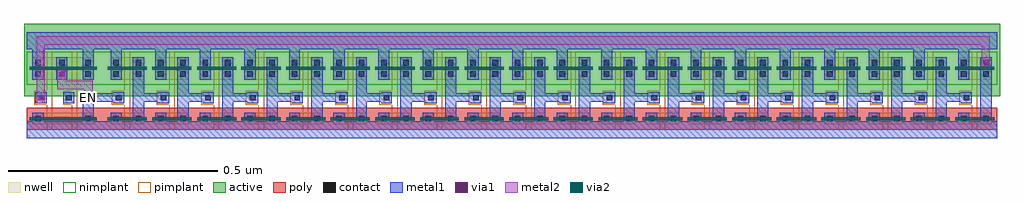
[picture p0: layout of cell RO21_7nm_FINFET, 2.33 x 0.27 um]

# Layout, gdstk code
import gdstk
lib = gdstk.Library(unit=1e-6, precision=1e-09)
def R(c, l, rs):  # rectangles x0, y0, x1, y1
    for r in rs: c.add(gdstk.rectangle(r[:2], r[2:], *l))
def A(c, l, x, y, w, h, nx, ny, dx, dy):  # array of equal rectangles
    R(c, l, [(x+i*dx, y+j*dy, x+i*dx+w, y+j*dy+h) for i in range(nx) for j in range(ny)])
active = (1, 0)
nwell = (2, 0)
poly = (3, 0)
nimplant = (4, 0)
pimplant = (5, 0)
contact = (6, 0)
metal1 = (7, 0)
via1 = (8, 0)
metal2 = (9, 0)
via2 = (10, 0)

ro21_7nm_finfet = lib.new_cell('RO21_7nm_FINFET')
A(ro21_7nm_finfet, active, 0.393, 0.1, 0.12, 0.173, 3, 1, 0.107, 0)
A(ro21_7nm_finfet, active, 0.713, 0.1, 0.12, 0.173, 3, 1, 0.107, 0)
A(ro21_7nm_finfet, active, 1.033, 0.1, 0.12, 0.173, 3, 1, 0.107, 0)
A(ro21_7nm_finfet, active, 1.353, 0.1, 0.12, 0.173, 3, 1, 0.107, 0)
A(ro21_7nm_finfet, active, 1.673, 0.1, 0.12, 0.173, 3, 1, 0.107, 0)
A(ro21_7nm_finfet, active, 1.993, 0.1, 0.12, 0.173, 3, 1, 0.107, 0)
R(ro21_7nm_finfet, active, [(-0.007,0.1,0.193,0.273), (0.18,0.1,0.3,0.273), (0.287,0.1,0.407,0.273)])
A(ro21_7nm_finfet, nwell, 0.413, 0.033, 0.08, 0.027, 3, 1, 0.107, 0)
A(ro21_7nm_finfet, nwell, 0.733, 0.033, 0.08, 0.027, 3, 1, 0.107, 0)
A(ro21_7nm_finfet, nwell, 1.053, 0.033, 0.08, 0.027, 3, 1, 0.107, 0)
A(ro21_7nm_finfet, nwell, 1.373, 0.033, 0.08, 0.027, 3, 1, 0.107, 0)
A(ro21_7nm_finfet, nwell, 1.693, 0.033, 0.08, 0.027, 3, 1, 0.107, 0)
A(ro21_7nm_finfet, nwell, 2.013, 0.033, 0.08, 0.027, 3, 1, 0.107, 0)
A(ro21_7nm_finfet, nwell, 0.413, 0.14, 0.08, 0.053, 3, 1, 0.107, 0)
A(ro21_7nm_finfet, nwell, 0.733, 0.14, 0.08, 0.053, 3, 1, 0.107, 0)
A(ro21_7nm_finfet, nwell, 1.053, 0.14, 0.08, 0.053, 3, 1, 0.107, 0)
A(ro21_7nm_finfet, nwell, 1.373, 0.14, 0.08, 0.053, 3, 1, 0.107, 0)
A(ro21_7nm_finfet, nwell, 1.693, 0.14, 0.08, 0.053, 3, 1, 0.107, 0)
A(ro21_7nm_finfet, nwell, 2.013, 0.14, 0.08, 0.053, 3, 1, 0.107, 0)
R(ro21_7nm_finfet, nwell, [(0.013,0.033,0.16,0.06), (0.2,0.033,0.28,0.06), (0.307,0.033,0.387,0.06), (0.013,0.14,0.16,0.193), (0.2,0.14,0.28,0.193), (0.307,0.14,0.387,0.193)])
A(ro21_7nm_finfet, poly, 0.187, 0.02, 0.106, 0.053, 7, 1, 0.32, 0)
R(ro21_7nm_finfet, poly, [(0,0.02,0.187,0.073), (0.293,0.02,0.4,0.073), (0.4,0.02,0.507,0.073), (0.613,0.02,0.72,0.073), (0.72,0.02,0.827,0.073), (0.933,0.02,1.04,0.073), (1.04,0.02,1.147,0.073), (1.253,0.02,1.36,0.073), (1.36,0.02,1.467,0.073), (1.573,0.02,1.68,0.073), (1.68,0.02,1.787,0.073), (1.893,0.02,2,0.073), (2,0.02,2.107,0.073), (2.213,0.02,2.32,0.073)])
A(ro21_7nm_finfet, nimplant, 0.187, 0.127, 0.106, 0.08, 7, 1, 0.32, 0)
R(ro21_7nm_finfet, nimplant, [(0,0.127,0.187,0.207), (0.293,0.127,0.4,0.207), (0.4,0.127,0.507,0.207), (0.613,0.127,0.72,0.207), (0.72,0.127,0.827,0.207), (0.933,0.127,1.04,0.207), (1.04,0.127,1.147,0.207), (1.253,0.127,1.36,0.207), (1.36,0.127,1.467,0.207), (1.573,0.127,1.68,0.207), (1.68,0.127,1.787,0.207), (1.893,0.127,2,0.207), (2,0.127,2.107,0.207), (2.213,0.127,2.32,0.207)])
A(ro21_7nm_finfet, pimplant, 0.233, 0.02, 0.014, 0.187, 7, 1, 0.32, 0)
A(ro21_7nm_finfet, pimplant, 0.203, 0.08, 0.034, 0.033, 7, 1, 0.32, 0)
R(ro21_7nm_finfet, pimplant, [(0.047,0.02,0.06,0.207), (0.107,0.02,0.12,0.207), (0.34,0.02,0.353,0.207), (0.447,0.02,0.46,0.207), (0.66,0.02,0.673,0.207), (0.767,0.02,0.78,0.207), (0.98,0.02,0.993,0.207), (1.087,0.02,1.1,0.207), (1.3,0.02,1.313,0.207), (1.407,0.02,1.42,0.207), (1.62,0.02,1.633,0.207), (1.727,0.02,1.74,0.207), (1.94,0.02,1.953,0.207), (2.047,0.02,2.06,0.207), (2.26,0.02,2.273,0.207), (0.017,0.08,0.05,0.113), (0.087,0.08,0.12,0.113), (0.31,0.08,0.343,0.113), (0.417,0.08,0.45,0.113), (0.63,0.08,0.663,0.113), (0.737,0.08,0.77,0.113), (0.95,0.08,0.983,0.113), (1.057,0.08,1.09,0.113), (1.27,0.08,1.303,0.113), (1.377,0.08,1.41,0.113), (1.59,0.08,1.623,0.113), (1.697,0.08,1.73,0.113), (1.91,0.08,1.943,0.113), (2.017,0.08,2.05,0.113), (2.23,0.08,2.263,0.113)])
A(ro21_7nm_finfet, contact, 0.313, 0.04, 0.014, 0.013, 13, 2, 0.16, 0.107)
A(ro21_7nm_finfet, contact, 0.213, 0.09, 0.014, 0.013, 7, 1, 0.32, 0)
A(ro21_7nm_finfet, contact, 0.313, 0.173, 0.014, 0.014, 13, 1, 0.16, 0)
R(ro21_7nm_finfet, contact, [(0.02,0.04,0.033,0.053), (0.14,0.04,0.153,0.053), (0.207,0.04,0.22,0.053), (0.26,0.04,0.273,0.053), (0.367,0.04,0.38,0.053), (0.42,0.04,0.433,0.053), (0.527,0.04,0.54,0.053), (0.58,0.04,0.593,0.053), (0.687,0.04,0.7,0.053), (0.74,0.04,0.753,0.053), (0.847,0.04,0.86,0.053), (0.9,0.04,0.913,0.053), (1.007,0.04,1.02,0.053), (1.06,0.04,1.073,0.053), (1.167,0.04,1.18,0.053), (1.22,0.04,1.233,0.053), (1.327,0.04,1.34,0.053), (1.38,0.04,1.393,0.053), (1.487,0.04,1.5,0.053), (1.54,0.04,1.553,0.053), (1.647,0.04,1.66,0.053), (1.7,0.04,1.713,0.053), (1.807,0.04,1.82,0.053), (1.86,0.04,1.873,0.053), (1.967,0.04,1.98,0.053), (2.02,0.04,2.033,0.053), (2.127,0.04,2.14,0.053), (2.18,0.04,2.193,0.053), (2.287,0.04,2.3,0.053), (0.027,0.09,0.04,0.103), (0.093,0.09,0.107,0.103), (0.32,0.09,0.333,0.103), (0.427,0.09,0.44,0.103), (0.64,0.09,0.653,0.103), (0.747,0.09,0.76,0.103), (0.96,0.09,0.973,0.103), (1.067,0.09,1.08,0.103), (1.28,0.09,1.293,0.103), (1.387,0.09,1.4,0.103), (1.6,0.09,1.613,0.103), (1.707,0.09,1.72,0.103), (1.92,0.09,1.933,0.103), (2.027,0.09,2.04,0.103), (2.24,0.09,2.253,0.103), (0.02,0.147,0.033,0.16), (0.077,0.147,0.09,0.16), (0.14,0.147,0.153,0.16), (0.207,0.147,0.22,0.16), (0.26,0.147,0.273,0.16), (0.367,0.147,0.38,0.16), (0.42,0.147,0.433,0.16), (0.527,0.147,0.54,0.16), (0.58,0.147,0.593,0.16), (0.687,0.147,0.7,0.16), (0.74,0.147,0.753,0.16), (0.847,0.147,0.86,0.16), (0.9,0.147,0.913,0.16), (1.007,0.147,1.02,0.16), (1.06,0.147,1.073,0.16), (1.167,0.147,1.18,0.16), (1.22,0.147,1.233,0.16), (1.327,0.147,1.34,0.16), (1.38,0.147,1.393,0.16), (1.487,0.147,1.5,0.16), (1.54,0.147,1.553,0.16), (1.647,0.147,1.66,0.16), (1.7,0.147,1.713,0.16), (1.807,0.147,1.82,0.16), (1.86,0.147,1.873,0.16), (1.967,0.147,1.98,0.16), (2.02,0.147,2.033,0.16), (2.127,0.147,2.14,0.16), (2.18,0.147,2.193,0.16), (2.287,0.147,2.3,0.16), (0.02,0.173,0.033,0.187), (0.077,0.173,0.09,0.187), (0.14,0.173,0.153,0.187), (0.207,0.173,0.22,0.187), (0.26,0.173,0.273,0.187), (0.367,0.173,0.38,0.187), (0.42,0.173,0.433,0.187), (0.527,0.173,0.54,0.187), (0.58,0.173,0.593,0.187), (0.687,0.173,0.7,0.187), (0.74,0.173,0.753,0.187), (0.847,0.173,0.86,0.187), (0.9,0.173,0.913,0.187), (1.007,0.173,1.02,0.187), (1.06,0.173,1.073,0.187), (1.167,0.173,1.18,0.187), (1.22,0.173,1.233,0.187), (1.327,0.173,1.34,0.187), (1.38,0.173,1.393,0.187), (1.487,0.173,1.5,0.187), (1.54,0.173,1.553,0.187), (1.647,0.173,1.66,0.187), (1.7,0.173,1.713,0.187), (1.807,0.173,1.82,0.187), (1.86,0.173,1.873,0.187), (1.967,0.173,1.98,0.187), (2.02,0.173,2.033,0.187), (2.127,0.173,2.14,0.187), (2.18,0.173,2.193,0.187), (2.287,0.173,2.3,0.187)])
A(ro21_7nm_finfet, metal1, 0.187, 0, 0.106, 0.04, 7, 2, 0.32, 0.213)
A(ro21_7nm_finfet, metal1, 0.307, 0, 0.026, 0.06, 7, 1, 0.32, 0)
A(ro21_7nm_finfet, metal1, 0.467, 0.033, 0.026, 0.16, 6, 1, 0.32, 0)
A(ro21_7nm_finfet, metal1, 0.207, 0.083, 0.026, 0.027, 7, 1, 0.32, 0)
A(ro21_7nm_finfet, metal1, 0.493, 0.087, 0.034, 0.02, 6, 1, 0.32, 0)
A(ro21_7nm_finfet, metal1, 0.307, 0.14, 0.026, 0.113, 7, 1, 0.32, 0)
R(ro21_7nm_finfet, metal1, [(0,0,0.187,0.04), (0.013,0,0.04,0.06), (0.2,0,0.227,0.06), (0.293,0,0.4,0.04), (0.4,0,0.507,0.04), (0.413,0,0.44,0.06), (0.52,0,0.547,0.06), (0.613,0,0.72,0.04), (0.72,0,0.827,0.04), (0.733,0,0.76,0.06), (0.84,0,0.867,0.06), (0.933,0,1.04,0.04), (1.04,0,1.147,0.04), (1.053,0,1.08,0.06), (1.16,0,1.187,0.06), (1.253,0,1.36,0.04), (1.36,0,1.467,0.04), (1.373,0,1.4,0.06), (1.48,0,1.507,0.06), (1.573,0,1.68,0.04), (1.68,0,1.787,0.04), (1.693,0,1.72,0.06), (1.8,0,1.827,0.06), (1.893,0,2,0.04), (2,0,2.107,0.04), (2.013,0,2.04,0.06), (2.12,0,2.147,0.06), (2.213,0,2.32,0.04), (0.133,0.033,0.16,0.107), (0.253,0.033,0.28,0.193), (0.36,0.033,0.387,0.193), (0.573,0.033,0.6,0.193), (0.68,0.033,0.707,0.193), (0.893,0.033,0.92,0.193), (1,0.033,1.027,0.193), (1.213,0.033,1.24,0.193), (1.32,0.033,1.347,0.193), (1.533,0.033,1.56,0.193), (1.64,0.033,1.667,0.193), (1.853,0.033,1.88,0.193), (1.96,0.033,1.987,0.193), (2.173,0.033,2.2,0.193), (2.28,0.033,2.307,0.193), (0.02,0.083,0.047,0.11), (0.087,0.083,0.113,0.11), (0.313,0.083,0.34,0.11), (0.42,0.083,0.447,0.11), (0.633,0.083,0.66,0.11), (0.74,0.083,0.767,0.11), (0.953,0.083,0.98,0.11), (1.06,0.083,1.087,0.11), (1.273,0.083,1.3,0.11), (1.38,0.083,1.407,0.11), (1.593,0.083,1.62,0.11), (1.7,0.083,1.727,0.11), (1.913,0.083,1.94,0.11), (2.02,0.083,2.047,0.11), (2.233,0.083,2.26,0.11), (0.16,0.087,0.207,0.107), (0.28,0.087,0.313,0.107), (0.387,0.087,0.42,0.107), (0.6,0.087,0.633,0.107), (0.707,0.087,0.74,0.107), (0.92,0.087,0.953,0.107), (1.027,0.087,1.06,0.107), (1.24,0.087,1.273,0.107), (1.347,0.087,1.38,0.107), (1.56,0.087,1.593,0.107), (1.667,0.087,1.7,0.107), (1.88,0.087,1.913,0.107), (1.987,0.087,2.02,0.107), (2.2,0.087,2.233,0.107), (0.013,0.14,0.04,0.253), (0.07,0.14,0.097,0.193), (0.133,0.14,0.16,0.253), (0.2,0.14,0.227,0.253), (0.413,0.14,0.44,0.253), (0.52,0.14,0.547,0.253), (0.733,0.14,0.76,0.253), (0.84,0.14,0.867,0.253), (1.053,0.14,1.08,0.253), (1.16,0.14,1.187,0.253), (1.373,0.14,1.4,0.253), (1.48,0.14,1.507,0.253), (1.693,0.14,1.72,0.253), (1.8,0.14,1.827,0.253), (2.013,0.14,2.04,0.253), (2.12,0.14,2.147,0.253), (0,0.213,0.187,0.253), (0.293,0.213,0.4,0.253), (0.4,0.213,0.507,0.253), (0.613,0.213,0.72,0.253), (0.72,0.213,0.827,0.253), (0.933,0.213,1.04,0.253), (1.04,0.213,1.147,0.253), (1.253,0.213,1.36,0.253), (1.36,0.213,1.467,0.253), (1.573,0.213,1.68,0.253), (1.68,0.213,1.787,0.253), (1.893,0.213,2,0.253), (2,0.213,2.107,0.253), (2.213,0.213,2.32,0.253)])
R(ro21_7nm_finfet, via1, [(0.14,0.087,0.153,0.1), (0.027,0.09,0.04,0.103), (0.077,0.147,0.09,0.16), (2.287,0.173,2.3,0.187)])
R(ro21_7nm_finfet, metal2, [(0.023,0.083,0.043,0.243), (0.137,0.083,0.157,0.137), (0.073,0.117,0.157,0.137), (0.073,0.117,0.093,0.163), (2.283,0.17,2.303,0.243), (0.023,0.223,2.303,0.243)])
A(ro21_7nm_finfet, via2, 0.193, 0.043, 0.094, 0.007, 7, 2, 0.32, 0.12)
R(ro21_7nm_finfet, via2, [(0.007,0.043,0.167,0.05), (0.3,0.043,0.393,0.05), (0.407,0.043,0.5,0.05), (0.62,0.043,0.713,0.05), (0.727,0.043,0.82,0.05), (0.94,0.043,1.033,0.05), (1.047,0.043,1.14,0.05), (1.26,0.043,1.353,0.05), (1.367,0.043,1.46,0.05), (1.58,0.043,1.673,0.05), (1.687,0.043,1.78,0.05), (1.9,0.043,1.993,0.05), (2.007,0.043,2.1,0.05), (2.22,0.043,2.313,0.05), (0.007,0.163,0.167,0.17), (0.3,0.163,0.393,0.17), (0.407,0.163,0.5,0.17), (0.62,0.163,0.713,0.17), (0.727,0.163,0.82,0.17), (0.94,0.163,1.033,0.17), (1.047,0.163,1.14,0.17), (1.26,0.163,1.353,0.17), (1.367,0.163,1.46,0.17), (1.58,0.163,1.673,0.17), (1.687,0.163,1.78,0.17), (1.9,0.163,1.993,0.17), (2.007,0.163,2.1,0.17), (2.22,0.163,2.313,0.17)])
ro21_7nm_finfet.add(gdstk.Label('EN', (0.147,0.097), layer=7, texttype=0))

lib.write_gds('RO21_7nm_FINFET.gds')
